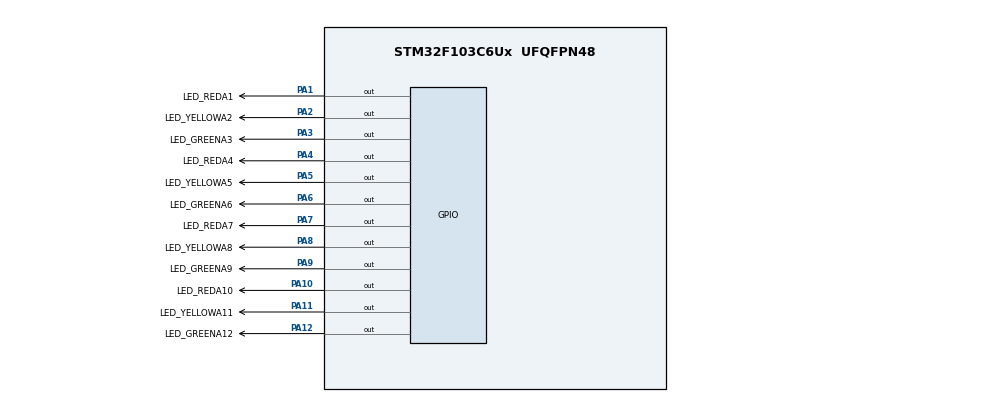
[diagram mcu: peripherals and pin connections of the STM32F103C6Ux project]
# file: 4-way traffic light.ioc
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Mcu.Family=STM32F1
Mcu.Name=STM32F103C6Ux
Mcu.Package=UFQFPN48
NVIC.PriorityGroup=NVIC_PRIORITYGROUP_4
PA1.GPIO_Label=LED_REDA1
PA1.Signal=GPIO_Output
PA10.GPIO_Label=LED_REDA10
PA10.Signal=GPIO_Output
PA11.GPIO_Label=LED_YELLOWA11
PA11.Signal=GPIO_Output
PA12.GPIO_Label=LED_GREENA12
PA12.Signal=GPIO_Output
PA2.GPIO_Label=LED_YELLOWA2
PA2.Signal=GPIO_Output
PA3.GPIO_Label=LED_GREENA3
PA3.Signal=GPIO_Output
PA4.GPIO_Label=LED_REDA4
PA4.Signal=GPIO_Output
PA5.GPIO_Label=LED_YELLOWA5
PA5.Signal=GPIO_Output
PA6.GPIO_Label=LED_GREENA6
PA6.Signal=GPIO_Output
PA7.GPIO_Label=LED_REDA7
PA7.Signal=GPIO_Output
PA8.GPIO_Label=LED_YELLOWA8
PA8.Signal=GPIO_Output
PA9.GPIO_Label=LED_GREENA9
PA9.Signal=GPIO_Output
ProjectManager.HeapSize=0x200
ProjectManager.StackSize=0x400
ProjectManager.TargetToolchain=STM32CubeIDE
RCC.APB1Freq_Value=8000000
RCC.APB2Freq_Value=8000000
VP_SYS_VS_ND.Mode=No_Debug
board=custom

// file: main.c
/* USER CODE BEGIN Header */
/**
  ******************************************************************************
  * @file           : main.c
  * @brief          : Main program body
  ******************************************************************************
  * @attention
  *
  * <h2><center>&copy; Copyright (c) 2025 STMicroelectronics.
  * All rights reserved.</center></h2>
  *
  * This software component is licensed by ST under BSD 3-Clause license,
  * the "License"; You may not use this file except in compliance with the
  * License. You may obtain a copy of the License at:
  *                        opensource.org/licenses/BSD-3-Clause
  *
  ******************************************************************************
  */
/* USER CODE END Header */
#include "main.h"

void SystemClock_Config(void);
static void MX_GPIO_Init(void);

int main(void)
{

  /* MCU Configuration--------------------------------------------------------*/

  /* Reset of all peripherals, Initializes the Flash interface and the Systick. */
  HAL_Init();

  /* Configure the system clock */
  SystemClock_Config();

  /* Initialize all configured peripherals */
  MX_GPIO_Init();

  /* Infinite loop */
  /* USER CODE BEGIN WHILE */
  int counter = 0;
  while (1)
  {
    /* USER CODE END WHILE */

    /* USER CODE BEGIN 3 */

	      HAL_GPIO_WritePin(GPIOA, LED_REDA1_Pin | LED_REDA7_Pin | LED_GREENA6_Pin | LED_GREENA12_Pin, GPIO_PIN_RESET);
	      HAL_GPIO_WritePin(GPIOA, LED_REDA4_Pin | LED_REDA10_Pin | LED_YELLOWA2_Pin | LED_YELLOWA8_Pin | LED_GREENA3_Pin | LED_GREENA9_Pin | LED_YELLOWA5_Pin | LED_YELLOWA11_Pin, GPIO_PIN_SET);

	      counter = 3;
	      while(counter > 0){
	          HAL_Delay(1000);
	          counter--;
	      }

	      HAL_GPIO_WritePin(GPIOA, LED_GREENA6_Pin | LED_GREENA12_Pin, GPIO_PIN_SET);
	      HAL_GPIO_WritePin(GPIOA, LED_YELLOWA5_Pin | LED_YELLOWA11_Pin, GPIO_PIN_RESET);

	      counter = 2;
	      while(counter > 0){
	          HAL_Delay(1000);
	          counter--;
	      }

	      HAL_GPIO_WritePin(GPIOA, LED_YELLOWA2_Pin | LED_YELLOWA8_Pin | LED_REDA1_Pin | LED_REDA7_Pin | LED_YELLOWA5_Pin | LED_YELLOWA11_Pin |LED_GREENA6_Pin | LED_GREENA12_Pin, GPIO_PIN_SET);
	      HAL_GPIO_WritePin(GPIOA, LED_REDA4_Pin | LED_REDA10_Pin | LED_GREENA3_Pin | LED_GREENA9_Pin, GPIO_PIN_RESET);

	      counter = 3;
	      while(counter > 0){
	          HAL_Delay(1000);
	          counter--;
	      }

	      HAL_GPIO_WritePin(GPIOA, LED_GREENA3_Pin | LED_GREENA9_Pin, GPIO_PIN_SET);
	      HAL_GPIO_WritePin(GPIOA, LED_YELLOWA2_Pin | LED_YELLOWA8_Pin, GPIO_PIN_RESET);

	      counter = 2;
	      while(counter > 0){
	          HAL_Delay(1000);
	          counter--;
	      }

  }
  /* USER CODE END 3 */
}

void SystemClock_Config(void)
{
  RCC_OscInitTypeDef RCC_OscInitStruct = {0};
  RCC_ClkInitTypeDef RCC_ClkInitStruct = {0};

  /** Initializes the RCC Oscillators according to the specified parameters
  * in the RCC_OscInitTypeDef structure.
  */
  RCC_OscInitStruct.OscillatorType = RCC_OSCILLATORTYPE_HSI;
  RCC_OscInitStruct.HSIState = RCC_HSI_ON;
  RCC_OscInitStruct.HSICalibrationValue = RCC_HSICALIBRATION_DEFAULT;
  RCC_OscInitStruct.PLL.PLLState = RCC_PLL_NONE;
  if (HAL_RCC_OscConfig(&RCC_OscInitStruct) != HAL_OK)
  {
    Error_Handler();
  }
  /** Initializes the CPU, AHB and APB buses clocks
  */
  RCC_ClkInitStruct.ClockType = RCC_CLOCKTYPE_HCLK|RCC_CLOCKTYPE_SYSCLK
                              |RCC_CLOCKTYPE_PCLK1|RCC_CLOCKTYPE_PCLK2;
  RCC_ClkInitStruct.SYSCLKSource = RCC_SYSCLKSOURCE_HSI;
  RCC_ClkInitStruct.AHBCLKDivider = RCC_SYSCLK_DIV1;
  RCC_ClkInitStruct.APB1CLKDivider = RCC_HCLK_DIV1;
  RCC_ClkInitStruct.APB2CLKDivider = RCC_HCLK_DIV1;

  if (HAL_RCC_ClockConfig(&RCC_ClkInitStruct, FLASH_LATENCY_0) != HAL_OK)
  {
    Error_Handler();
  }
}

static void MX_GPIO_Init(void)
{
  GPIO_InitTypeDef GPIO_InitStruct = {0};

  /* GPIO Ports Clock Enable */
  __HAL_RCC_GPIOA_CLK_ENABLE();

  /*Configure GPIO pin Output Level */
  HAL_GPIO_WritePin(GPIOA, LED_REDA1_Pin|LED_YELLOWA2_Pin|LED_GREENA3_Pin|LED_REDA4_Pin
                          |LED_YELLOWA5_Pin|LED_GREENA6_Pin|LED_REDA7_Pin|LED_YELLOWA8_Pin
                          |LED_GREENA9_Pin|LED_REDA10_Pin|LED_YELLOWA11_Pin|LED_GREENA12_Pin, GPIO_PIN_RESET);

  /*Configure GPIO pins : LED_REDA1_Pin LED_YELLOWA2_Pin LED_GREENA3_Pin LED_REDA4_Pin
                           LED_YELLOWA5_Pin LED_GREENA6_Pin LED_REDA7_Pin LED_YELLOWA8_Pin
                           LED_GREENA9_Pin LED_REDA10_Pin LED_YELLOWA11_Pin LED_GREENA12_Pin */
  GPIO_InitStruct.Pin = LED_REDA1_Pin|LED_YELLOWA2_Pin|LED_GREENA3_Pin|LED_REDA4_Pin
                          |LED_YELLOWA5_Pin|LED_GREENA6_Pin|LED_REDA7_Pin|LED_YELLOWA8_Pin
                          |LED_GREENA9_Pin|LED_REDA10_Pin|LED_YELLOWA11_Pin|LED_GREENA12_Pin;
  GPIO_InitStruct.Mode = GPIO_MODE_OUTPUT_PP;
  GPIO_InitStruct.Pull = GPIO_NOPULL;
  GPIO_InitStruct.Speed = GPIO_SPEED_FREQ_LOW;
  HAL_GPIO_Init(GPIOA, &GPIO_InitStruct);

}

void Error_Handler(void)
{
  __disable_irq();
  while (1)
  {
  }
}

/************************ (C) COPYRIGHT STMicroelectronics *****END OF FILE****/
